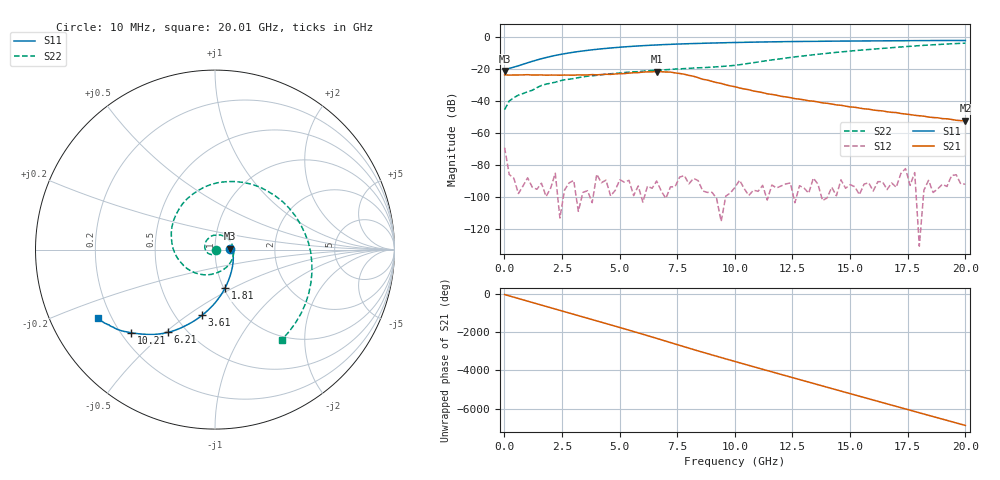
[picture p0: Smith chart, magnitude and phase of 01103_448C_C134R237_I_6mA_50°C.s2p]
!;Filter: kein Filter
!auto
!3/21/2019 9:27:54 AM
!3/21/2019 9:28:10 AM
!SP-Measurements Prober G4
!SP-Measurements Prober G4
!01103_448C
!134
!237
!12
!50
!-20
!0.00599970
!2.02
!0.74959551
!0.74959551
# Hz S  RI  R 50
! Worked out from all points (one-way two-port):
!   101 points, 10 MHz to 20.01 GHz, reference 50 ohm
!   highest |S21| = -21.77 dB at 6.61 GHz (marker M1); lowest = -52.4 dB at 20.01 GHz (marker M2)
!   lowest |S11| = -21.5 dB at 10 MHz (marker M3), VSWR 1.18, Z = 59.2 + j0.721 ohm
!   |S11| at or under -10 dB: start of sweep to 2.891 GHz
!   |S22| runs from -45.5 to -4.1 dB; largest |S21 - S12| = 0.082
!   S11 on the Smith chart (normalised r, x): 10 MHz: 1.18, +0.01; 1.81 GHz: 1.01, -0.46; 3.61 GHz: 0.67, -0.57; 6.21 GHz: 0.40, -0.51; 10.21 GHz: 0.24, -0.39; 20.01 GHz: 0.15, -0.26
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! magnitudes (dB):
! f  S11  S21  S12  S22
! 10 MHz  -21.5  -23.8  -69.2  -45.5
! 210 MHz  -19.8  -24.0  -85.9  -40.2
! 610 MHz  -18.2  -23.9  -97.8  -36.5
! 1.21 GHz  -15.4  -24.0  -93.9  -33.5
! 1.61 GHz  -13.8  -23.9  -91.4  -30.4
! 1.81 GHz  -13.1  -24.1  -99.7  -29.7
! 2.61 GHz  -10.7  -24.0  -95.6  -26.9
! 3.41 GHz  -8.9  -23.9  -97.0  -25.1
! 3.61 GHz  -8.6  -23.9  -96.0  -24.7
! 4.61 GHz  -7.1  -23.6  -99.3  -23.2
! 6.21 GHz  -5.5  -22.0  -93.2  -21.3
! 6.61 GHz  -5.2  -21.8  -90.0  -21.0
! 6.81 GHz  -5.1  -21.9  -96.3  -20.9
! 7.21 GHz  -4.8  -22.1  -93.7  -20.5
! 7.81 GHz  -4.5  -23.5  -86.6  -20.0
! 10.01 GHz  -3.7  -31.2  -93.9  -17.9
! 10.21 GHz  -3.6  -32.0  -89.5  -17.5
! 11.41 GHz  -3.3  -35.7  -101.8  -15.0
! 13.41 GHz  -3.0  -40.3  -88.2  -11.3
! 16.81 GHz  -2.6  -47.2  -91.2  -6.9
! 19.61 GHz  -2.4  -52.1  -86.1  -4.3
! 20.01 GHz  -2.5  -52.4  -91.9  -4.1
